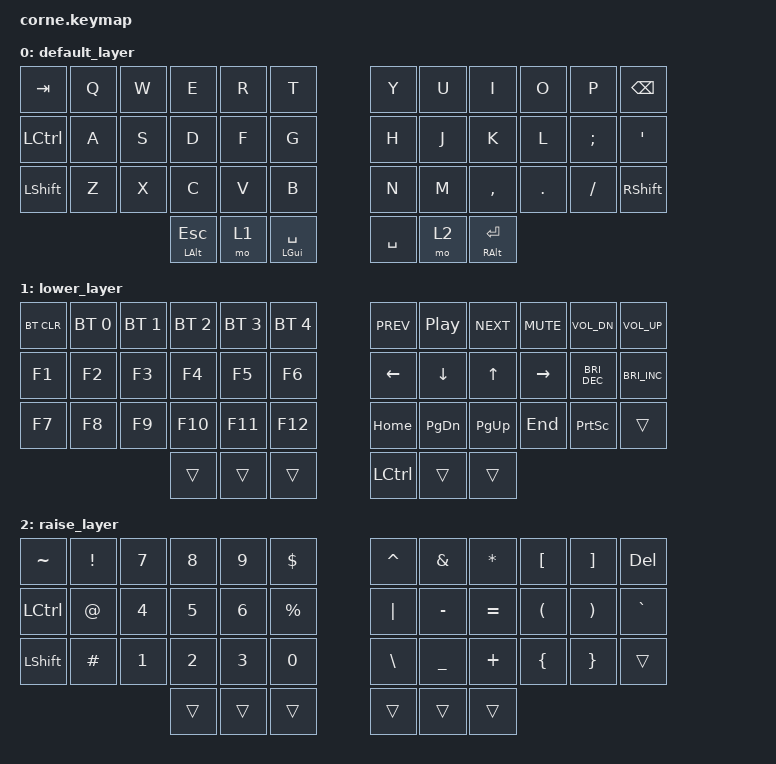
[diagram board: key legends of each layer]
/*
 * Copyright (c) 2020 The ZMK Contributors
 *
 * SPDX-License-Identifier: MIT
 */

#include <behaviors.dtsi>
#include <dt-bindings/zmk/bt.h>
#include <dt-bindings/zmk/keys.h>

/ {
    combos {
        compatible = "zmk,combos";

        jk_escape {
            bindings = <&kp ESCAPE>;
            key-positions = <19 20>;
        };

        kl_enter {
            bindings = <&kp RET>;
            key-positions = <32 33>;
        };
    };

    keymap {
        compatible = "zmk,keymap";

        default_layer {
            bindings = <
&kp TAB    &kp Q  &kp W  &kp E                &kp R  &kp T                 &kp Y      &kp U  &kp I              &kp O    &kp P     &kp BSPC
&kp LCTRL  &kp A  &kp S  &kp D                &kp F  &kp G                 &kp H      &kp J  &kp K              &kp L    &kp SEMI  &kp SQT
&kp LSHFT  &kp Z  &kp X  &kp C                &kp V  &kp B                 &kp N      &kp M  &kp COMMA          &kp DOT  &kp FSLH  &kp RSHFT
                         &mt LEFT_ALT ESCAPE  &mo 1  &mt LEFT_GUI SPACE    &kp SPACE  &mo 2  &mt RIGHT_ALT RET
            >;
        };

        lower_layer {
            bindings = <
&bt BT_CLR  &bt BT_SEL 0  &bt BT_SEL 1  &bt BT_SEL 2  &bt BT_SEL 3  &bt BT_SEL 4    &kp C_PREV  &kp C_PP   &kp C_NEXT  &kp K_MUTE  &kp K_VOL_DN   &kp K_VOL_UP
&kp F1      &kp F2        &kp F3        &kp F4        &kp F5        &kp F6          &kp LEFT    &kp DOWN   &kp UP      &kp RIGHT   &kp C_BRI_DEC  &kp C_BRI_INC
&kp F7      &kp F8        &kp F9        &kp F10       &kp F11       &kp F12         &kp HOME    &kp PG_DN  &kp PG_UP   &kp END     &kp PSCRN      &trans
                                        &trans        &trans        &trans          &kp LCTRL   &trans     &trans
            >;
        };

        raise_layer {
            bindings = <
&kp TILDE  &kp EXCL  &kp N7        &kp N8  &kp N9        &kp DOLLAR     &kp CARET      &kp AMPS   &kp ASTRK  &kp LBKT  &kp RBKT  &kp DEL
&kp LCTRL  &kp AT    &kp NUMBER_4  &kp N5  &kp NUMBER_6  &kp PERCENT    &kp PIPE       &kp MINUS  &kp EQUAL  &kp LPAR  &kp RPAR  &kp GRAVE
&kp LSHFT  &kp HASH  &kp N1        &kp N2  &kp NUMBER_3  &kp N0         &kp BACKSLASH  &kp UNDER  &kp PLUS   &kp LBRC  &kp RBRC  &trans
                                   &trans  &trans        &trans         &trans         &trans     &trans
            >;
        };
    };
};

